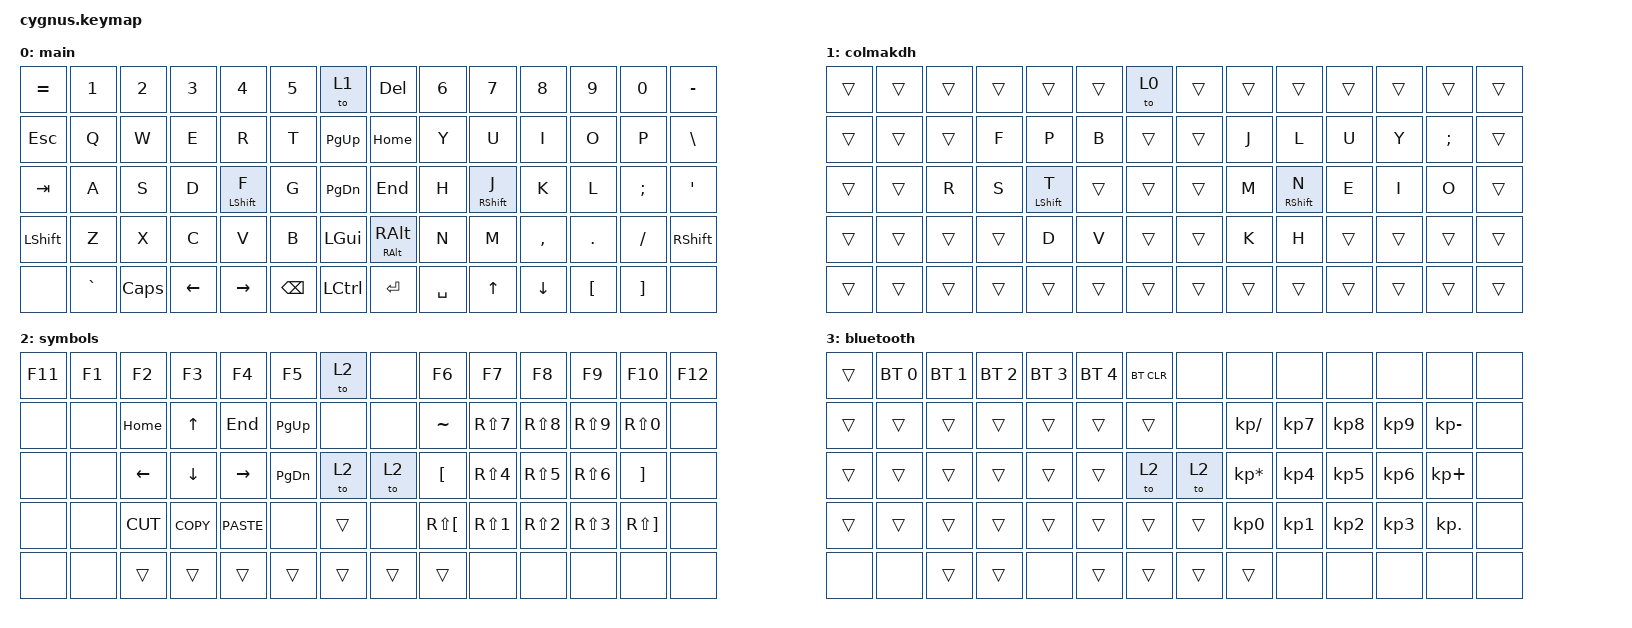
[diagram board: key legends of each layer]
#include <behaviors/rgbled_widget.dtsi>
#include <behaviors.dtsi>
#include <dt-bindings/zmk/bt.h>
#include <dt-bindings/zmk/keys.h>

/ {
    combos {
        compatible = "zmk,combos";

        bluetooth {
            bindings = <&mo 0>;
            key-positions = <41 36>;
        };

        bt2 {
            bindings = <&mo 0>;
            key-positions = <48 53>;
        };
    };

    behaviors {
        hml: hml {
            compatible = "zmk,behavior-hold-tap";
            label = "HOME_ROW_LEFT";
            bindings = <&kp>, <&kp>;

            #binding-cells = <2>;
            hold-trigger-key-positions = <32 0 1 3 2 4 5 6 14 15 16 17 18 19 20 28 29 30 31 33 34 42 43 44 45 46 47 56 57 58 48>;
            tapping-term-ms = <180>;
            quick-tap-ms = <175>;
            require-prior-idle-ms = <150>;
            flavor = "balanced";
            hold-trigger-on-release;
        };

        hmr: hmr {
            compatible = "zmk,behavior-hold-tap";
            label = "HOME_ROW_RIGHT";
            bindings = <&kp>, <&kp>;

            #binding-cells = <2>;
            tapping-term-ms = <180>;
            quick-tap-ms = <175>;
            require-prior-idle-ms = <150>;
            flavor = "balanced";
            hold-trigger-key-positions = <37 7 8 9 10 11 12 13 21 22 23 24 25 26 27 35 36 38 39 40 41 55 54 53 52 51 50 69 68 67 49>;
            hold-trigger-on-release;
        };
    };

    keymap {
        compatible = "zmk,keymap";

        main {
            // ┌─────┬─────┬─────┬─────┬─────┬─────┬─────┐     ┌─────┬─────┬─────┬─────┬─────┬─────┬─────┐
            // │ ESC │  1  │  2  │  3  │  4  │  5  │  =  │     │  -  │  6  │  7  │  8  │  9  │  0  │BKSP │
            // ├─────┼─────┼─────┼─────┼─────┼─────┼─────┤     ├─────┼─────┼─────┼─────┼─────┼─────┼─────┤
            // │ TAB │  Q  │  W  │  E  │  R  │  T  │  [  │     │  ]  │  Y  │  U  │  I  │  O  │  P  │  \  │
            // ├─────┼─────┼─────┼─────┼─────┼─────┼─────┤     ├─────┼─────┼─────┼─────┼─────┼─────┼─────┤
            // │CAPS │  A  │  S  │  D  │  F  │  G  │  `  │     │  '  │  H  │  J  │  K  │  L  │  ;  │ENTER│
            // ├─────┼─────┼─────┼─────┼─────┼─────┼─────┤     ├─────┼─────┼─────┼─────┼─────┼─────┼─────┤
            // │LSHFT│  Z  │  X  │  C  │  V  │  B  │ HOME│     │ END │  N  │  M  │  ,  │  .  │  /  │RSHFT│
            // ├─────┼─────┼─────┼─────┼─────┼─────┼─────┤     ├─────┼─────┼─────┼─────┼─────┼─────┼─────┤
            // │LCTRL│LWIN │LALT │ DEL │ SPC │ FN1 │ FN2 │     │ FN2 │ FN1 │ SPC │ DEL │RALT │RWIN │RCTRL│
            // └─────┴─────┴─────┴─────┴─────┴─────┴─────┘     └─────┴─────┴─────┴─────┴─────┴─────┴─────┘

            bindings = <
&kp EQUAL       &kp N1     &kp N2    &kp N3          &kp N4             &kp N5         &to 1          &kp DEL                   &kp N6     &kp N7        &kp N8          &kp N9            &kp N0             &kp MINUS
&kp ESC         &kp Q      &kp W     &kp E           &kp R              &kp T          &kp PAGE_UP    &kp HOME                  &kp Y      &kp U         &kp I           &kp O             &kp P              &kp BSLH
&kp TAB         &kp A      &kp S     &kp D           &hml LEFT_SHIFT F  &kp G          &kp PAGE_DOWN  &kp END                   &kp H      &hmr RSHFT J  &kp K           &kp L             &kp SEMI           &kp SQT
&kp LEFT_SHIFT  &kp Z      &kp X     &kp C           &kp V              &kp B          &kp LGUI       &hmr RIGHT_ALT RIGHT_ALT  &kp N      &kp M         &kp COMMA       &kp DOT           &kp FSLH           &kp RIGHT_SHIFT
&none           &kp GRAVE  &kp CAPS  &kp LEFT_ARROW  &kp RIGHT_ARROW    &kp BACKSPACE  &kp LCTRL      &kp ENTER                 &kp SPACE  &kp UP_ARROW  &kp DOWN_ARROW  &kp LEFT_BRACKET  &kp RIGHT_BRACKET  &none
            >;
        };

        colmakdh {
            bindings = <
&trans  &trans  &trans  &trans  &trans         &trans  &to 0   &trans  &trans  &trans         &trans  &trans  &trans         &trans
&trans  &trans  &trans  &kp F   &kp P          &kp B   &trans  &trans  &kp J   &kp L          &kp U   &kp Y   &kp SEMICOLON  &trans
&trans  &trans  &kp R   &kp S   &hml LSHIFT T  &trans  &trans  &trans  &kp M   &hmr RSHIFT N  &kp E   &kp I   &kp O          &trans
&trans  &trans  &trans  &trans  &kp D          &kp V   &trans  &trans  &kp K   &kp H          &trans  &trans  &trans         &trans
&trans  &trans  &trans  &trans  &trans         &trans  &trans  &trans  &trans  &trans         &trans  &trans  &trans         &trans
            >;
        };

        symbols {
            // ┌─────┬─────┬─────┬─────┬─────┬─────┬─────┐     ┌─────┬─────┬─────┬─────┬─────┬─────┬─────┐
            // │  ~  │ F1  │ F2  │ F3  │ F4  │ F5  │ F11 │     │ F12 │ F6  │ F7  │ F8  │ F9  │ F10 │ DEL │
            // ├─────┼─────┼─────┼─────┼─────┼─────┼─────┤     ├─────┼─────┼─────┼─────┼─────┼─────┼─────┤
            // │     │     │ UP  │     │     │     │ INS │     │PSCRN│     │     │     │     │     │     │
            // ├─────┼─────┼─────┼─────┼─────┼─────┼─────┤     ├─────┼─────┼─────┼─────┼─────┼─────┼─────┤
            // │     │LEFT │DOWN │RIGHT│     │     │SLCK │     │PAUSE│LEFT │DOWN │ UP  │RIGHT│     │     │
            // ├─────┼─────┼─────┼─────┼─────┼─────┼─────┤     ├─────┼─────┼─────┼─────┼─────┼─────┼─────┤
            // │     │     │     │     │     │     │PGUP │     │PGDN │     │     │     │     │     │     │
            // ├─────┼─────┼─────┼─────┼─────┼─────┼─────┤     ├─────┼─────┼─────┼─────┼─────┼─────┼─────┤
            // │     │     │     │     │     │     │     │     │     │     │     │     │     │     │     │
            // └─────┴─────┴─────┴─────┴─────┴─────┴─────┘     └─────┴─────┴─────┴─────┴─────┴─────┴─────┘

            bindings = <
&kp F11  &kp F1  &kp F2          &kp F3          &kp F4           &kp F5         &to 2   &none   &kp F6                &kp F7            &kp F8            &kp F9            &kp F10                &kp F12
&none    &none   &kp HOME        &kp UP_ARROW    &kp END          &kp PAGE_UP    &none   &none   &kp TILDE             &kp RS(NUMBER_7)  &kp RS(NUMBER_8)  &kp RS(NUMBER_9)  &kp RS(NUMBER_0)       &none
&none    &none   &kp LEFT_ARROW  &kp DOWN_ARROW  &kp RIGHT_ARROW  &kp PAGE_DOWN  &to 2   &to 2   &kp LEFT_BRACKET      &kp RS(NUMBER_4)  &kp RS(NUMBER_5)  &kp RS(NUMBER_6)  &kp RIGHT_BRACKET      &none
&none    &none   &kp K_CUT       &kp K_COPY      &kp K_PASTE      &none          &trans  &none   &kp RS(LEFT_BRACKET)  &kp RS(NUMBER_1)  &kp RS(NUMBER_2)  &kp RS(NUMBER_3)  &kp RS(RIGHT_BRACKET)  &none
&none    &none   &trans          &trans          &trans           &trans         &trans  &trans  &trans                &none             &none             &none             &none                  &none
            >;
        };

        bluetooth {
            // ┌─────┬─────┬─────┬─────┬─────┬─────┬─────┐     ┌─────┬─────┬─────┬─────┬─────┬─────┬─────┐
            // │     │ BT1 │ BT2 │ BT3 │ BT4 │ BT5 │BTCLR│     │NUMLK│  =  │  /  │  *  │  -  │     │     │
            // ├─────┼─────┼─────┼─────┼─────┼─────┼─────┤     ├─────┼─────┼─────┼─────┼─────┼─────┼─────┤
            // │     │     │     │     │     │     │     │     │     │  7  │  8  │  9  │  +  │     │     │
            // ├─────┼─────┼─────┼─────┼─────┼─────┼─────┤     ├─────┼─────┼─────┼─────┼─────┼─────┼─────┤
            // │     │     │     │     │     │     │     │     │     │  4  │  5  │  6  │  +  │     │     │
            // ├─────┼─────┼─────┼─────┼─────┼─────┼─────┤     ├─────┼─────┼─────┼─────┼─────┼─────┼─────┤
            // │     │     │     │     │     │     │     │     │     │  1  │  2  │  3  │ENTER│     │     │
            // ├─────┼─────┼─────┼─────┼─────┼─────┼─────┤     ├─────┼─────┼─────┼─────┼─────┼─────┼─────┤
            // │     │     │     │     │     │     │     │     │     │  0  │  0  │  .  │ENTER│     │     │
            // └─────┴─────┴─────┴─────┴─────┴─────┴─────┘     └─────┴─────┴─────┴─────┴─────┴─────┴─────┘

            bindings = <
&trans  &bt BT_SEL 0  &bt BT_SEL 1  &bt BT_SEL 2  &bt BT_SEL 3  &bt BT_SEL 4  &bt BT_CLR  &none   &none            &none      &none      &none      &none         &none
&trans  &trans        &trans        &trans        &trans        &trans        &trans      &none   &kp KP_DIVIDE    &kp KP_N7  &kp KP_N8  &kp KP_N9  &kp KP_MINUS  &none
&trans  &trans        &trans        &trans        &trans        &trans        &to 2       &to 2   &kp KP_MULTIPLY  &kp KP_N4  &kp KP_N5  &kp KP_N6  &kp KP_PLUS   &none
&trans  &trans        &trans        &trans        &trans        &trans        &trans      &trans  &kp KP_N0        &kp KP_N1  &kp KP_N2  &kp KP_N3  &kp KP_DOT    &none
&none   &none         &trans        &trans        &none         &trans        &trans      &trans  &trans           &none      &none      &none      &none         &none
            >;
        };
    };
};
